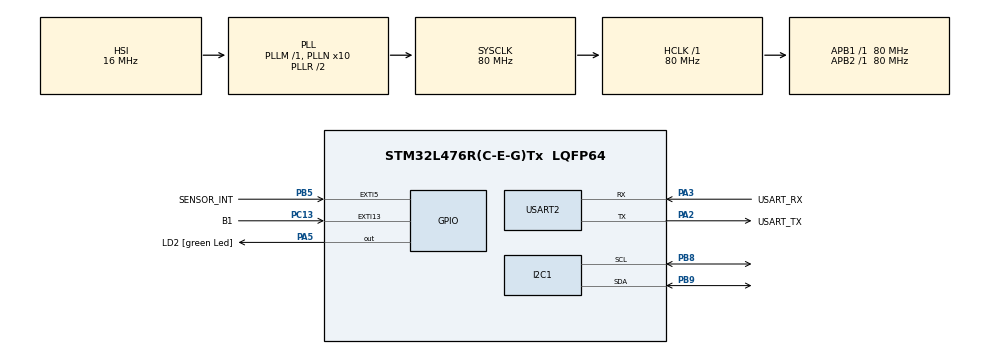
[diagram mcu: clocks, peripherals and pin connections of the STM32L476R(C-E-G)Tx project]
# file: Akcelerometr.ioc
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I2C1.Timing=0x10909CEC
Mcu.Family=STM32L4
Mcu.Name=STM32L476R(C-E-G)Tx
Mcu.Package=LQFP64
NVIC.EXTI9_5_IRQn=true\:0\:0\:false\:false\:true\:true\:true\:true
NVIC.I2C1_EV_IRQn=true\:0\:0\:false\:false\:true\:true\:true\:true
NVIC.PriorityGroup=NVIC_PRIORITYGROUP_4
NVIC.TIM1_TRG_COM_TIM17_IRQn=true\:0\:0\:false\:false\:true\:true\:true\:true
NVIC.TIM1_UP_TIM16_IRQn=true\:0\:0\:false\:false\:true\:true\:true\:true
NVIC.USART2_IRQn=true\:0\:0\:false\:false\:true\:true\:true\:true
PA13\ (JTMS-SWDIO).GPIO_Label=TMS
PA13\ (JTMS-SWDIO).Mode=Serial_Wire
PA13\ (JTMS-SWDIO).Signal=SYS_JTMS-SWDIO
PA14\ (JTCK-SWCLK).GPIO_Label=TCK
PA14\ (JTCK-SWCLK).Mode=Serial_Wire
PA14\ (JTCK-SWCLK).Signal=SYS_JTCK-SWCLK
PA2.GPIO_Label=USART_TX
PA2.GPIO_Mode=GPIO_MODE_AF_PP
PA2.GPIO_PuPd=GPIO_NOPULL
PA2.GPIO_Speed=GPIO_SPEED_FREQ_VERY_HIGH
PA2.Mode=Asynchronous
PA2.Signal=USART2_TX
PA3.GPIO_Label=USART_RX
PA3.GPIO_Mode=GPIO_MODE_AF_PP
PA3.GPIO_PuPd=GPIO_NOPULL
PA3.GPIO_Speed=GPIO_SPEED_FREQ_VERY_HIGH
PA3.Mode=Asynchronous
PA3.Signal=USART2_RX
PA5.GPIO_Label=LD2 [green Led]
PA5.GPIO_ModeDefaultOutputPP=GPIO_MODE_OUTPUT_PP
PA5.GPIO_PuPd=GPIO_NOPULL
PA5.GPIO_Speed=GPIO_SPEED_FREQ_LOW
PA5.Signal=GPIO_Output
PB3\ (JTDO-TRACESWO).GPIO_Label=SWO
PB3\ (JTDO-TRACESWO).Signal=SYS_JTDO-SWO
PB5.GPIO_Label=SENSOR_INT
PB5.Signal=GPXTI5
PB8.Mode=I2C
PB8.Signal=I2C1_SCL
PB9.Mode=I2C
PB9.Signal=I2C1_SDA
PC13.GPIO_Label=B1
PC13.GPIO_ModeDefaultEXTI=GPIO_MODE_IT_FALLING
PC13.GPIO_PuPd=GPIO_NOPULL
PC13.Signal=GPXTI13
PC14-OSC32_IN\ (PC14).Mode=LSE-External-Oscillator
PC14-OSC32_IN\ (PC14).Signal=RCC_OSC32_IN
PC15-OSC32_OUT\ (PC15).Mode=LSE-External-Oscillator
PC15-OSC32_OUT\ (PC15).Signal=RCC_OSC32_OUT
PH0-OSC_IN\ (PH0).Signal=RCC_OSC_IN
PH1-OSC_OUT\ (PH1).Signal=RCC_OSC_OUT
ProjectManager.HeapSize=0x200
ProjectManager.StackSize=0x400
ProjectManager.TargetToolchain=STM32CubeIDE
RCC.ADCFreq_Value=64000000
RCC.AHBFreq_Value=80000000
RCC.APB1Freq_Value=80000000
RCC.APB1TimFreq_Value=80000000
RCC.APB2Freq_Value=80000000
RCC.APB2TimFreq_Value=80000000
RCC.CortexFreq_Value=80000000
RCC.HCLKFreq_Value=80000000
RCC.HSE_VALUE=8000000
RCC.HSI_VALUE=16000000
RCC.MSI_VALUE=4000000
RCC.PLLN=10
RCC.PLLSourceVirtual=RCC_PLLSOURCE_HSI
RCC.PREFETCH_ENABLE=1
RCC.SYSCLKFreq_VALUE=80000000
RCC.SYSCLKSource=RCC_SYSCLKSOURCE_PLLCLK
RCC.USBFreq_Value=64000000
RCC.VCOOutputFreq_Value=160000000
TIM16.Period=999
TIM16.Prescaler=6153
TIM17.Period=999
TIM17.Prescaler=7271
USART2.VirtualMode-Asynchronous=VM_ASYNC
VP_TIM16_VS_ClockSourceINT.Mode=Enable_Timer
VP_TIM17_VS_ClockSourceINT.Mode=Enable_Timer
board=NUCLEO-L476RG

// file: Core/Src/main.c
/* USER CODE BEGIN Header */
/**
 ******************************************************************************
 * @file           : main.c
 * @brief          : Main program body
 ******************************************************************************
 * @attention
 *
 * Copyright (c) 2023 STMicroelectronics.
 * All rights reserved.
 *
 * This software is licensed under terms that can be found in the LICENSE file
 * in the root directory of this software component.
 * If no LICENSE file comes with this software, it is provided AS-IS.
 *
 ******************************************************************************
 */
/* USER CODE END Header */
#include "main.h"

/* USER CODE BEGIN Includes */
#include "lsm6dsl_register_map.h"
/* USER CODE END Includes */

/* USER CODE BEGIN PTD */
#define ADDRESS (0b11010110)
/* USER CODE END PTD */

I2C_HandleTypeDef hi2c1;

TIM_HandleTypeDef htim16;
TIM_HandleTypeDef htim17;

UART_HandleTypeDef huart2;

void SystemClock_Config(void);
static void MX_GPIO_Init(void);
static void MX_USART2_UART_Init(void);
static void MX_I2C1_Init(void);
static void MX_TIM16_Init(void);
static void MX_TIM17_Init(void);

/* USER CODE BEGIN 0 */
uint8_t comunicate[26];
int16_t comunicateAccleration[64];
volatile uint8_t flag = 0;
uint16_t size = 0;
uint8_t buffer[6] = { 0 };

//Bits in [mg]
int16_t accelerationX;
int16_t accelerationY;
int16_t accelerationZ;

uint16_t size;

//numbers in [m/s^2]
float accelerationXf;
float accelerationYf;
float accelerationZf;

void HAL_TIM_PeriodElapsedCallback(TIM_HandleTypeDef *htim) {
	//13 hz
	if (htim->Instance == TIM16) {
		HAL_GPIO_TogglePin(LD2_GPIO_Port, LD2_Pin);
	}

	// 11hz
	if (htim->Instance == TIM17) {
		if (flag) {
			HAL_I2C_Mem_Read_IT(&hi2c1, ADDRESS, LSM6DSL_OUTX_L_XL, 1, buffer,
					sizeof(buffer));

		}
	}
}

void HAL_GPIO_EXTI_Callback(uint16_t GPIO_Pin) {
	if (GPIO_Pin == SENSOR_INT_Pin) {
		HAL_I2C_Mem_Read_IT(&hi2c1, ADDRESS, LSM6DSL_OUTX_L_XL, 1, buffer, 6);
		flag = 1;
	}
}

void HAL_I2C_MemRxCpltCallback(I2C_HandleTypeDef *hi2c) {
	if (hi2c->Instance == I2C1) {
		accelerationX = (((int16_t) buffer[1]) << 8 | buffer[0]);
		accelerationY = (((int16_t) buffer[3]) << 8 | buffer[2]);
		accelerationZ = (((int16_t) buffer[5]) << 8 | buffer[4]);

		accelerationXf = 0.061 * accelerationX / 1000 * 9.81;
		accelerationYf = 0.061 * accelerationY / 1000 * 9.81;
		accelerationZf = 0.061 * accelerationZ / 1000 * 9.81;

		snprintf(comunicateAccleration, sizeof(comunicateAccleration),
				" Predkosc X wynosi %e m/s^2", accelerationXf);
		HAL_UART_Transmit(&huart2, comunicateAccleration,
				strlen(comunicateAccleration),
				HAL_MAX_DELAY);

		snprintf(comunicateAccleration, sizeof(comunicateAccleration),
				" Predkosc Y wynosi %e m/s^2", accelerationYf);
		HAL_UART_Transmit(&huart2, comunicateAccleration,
				strlen(comunicateAccleration),
				HAL_MAX_DELAY);

		snprintf(comunicateAccleration, sizeof(comunicateAccleration),
				" Predkosc Z wynosi %e m/s^2 \n\r", accelerationZf);
		HAL_UART_Transmit(&huart2, comunicateAccleration,
				strlen(comunicateAccleration),
				HAL_MAX_DELAY);

	}
}

/* USER CODE END 0 */

int main(void) {

	/* MCU Configuration--------------------------------------------------------*/

	/* Reset of all peripherals, Initializes the Flash interface and the Systick. */
	HAL_Init();

	/* Configure the system clock */
	SystemClock_Config();

	/* Initialize all configured peripherals */
	MX_GPIO_Init();
	MX_USART2_UART_Init();
	MX_I2C1_Init();
	MX_TIM16_Init();
	MX_TIM17_Init();
	/* USER CODE BEGIN 2 */
	HAL_TIM_Base_Start_IT(&htim16);
	HAL_TIM_Base_Start_IT(&htim17);

	/* USER CODE END 2 */

	/* Infinite loop */
	/* USER CODE BEGIN WHILE */

	{
		// BOOT
		// Software Reset and register automatically incremented
		uint8_t reg = ((00000001 << 0) | (00000001 << 3));
		HAL_I2C_Mem_Write(&hi2c1, ADDRESS, LSM6DSL_CTRL3_C, 1, &reg, 1,
		HAL_MAX_DELAY);
	}

//	Set LOW mode to have 1Hz on reading data
	{
		uint8_t reg = ((00000001 << 4));
		HAL_I2C_Mem_Write(&hi2c1, ADDRESS, LSM6DSL_CTRL6_C, 1, &reg, 1,
		HAL_MAX_DELAY);
	}

	{
		// Output Data Rate Acelerometr 12.5Hz
		uint8_t reg = (1 << 4);
//		uint8_t reg = ((1 << 7) | (1 << 5) | (1 << 4)); // to działa dla 1.6hz
//		uint8_t reg = (0b10110000); // to działa dla 1.6hz
//		uint8_t reg = (10110000);  to nie !!! działa dla 1.6hz
		HAL_I2C_Mem_Write(&hi2c1, ADDRESS, LSM6DSL_CTRL1_XL, 1, &reg, 1,
		HAL_MAX_DELAY);
	}

//Data ready signal on int_1_CTRL Acelerometr
	{
		uint8_t reg = (00000001 << 0);
		HAL_I2C_Mem_Write(&hi2c1, ADDRESS, LSM6DSL_INT1_CTRL, 1, &reg, 1,
		HAL_MAX_DELAY);
	}

//	HAL_I2C_Mem_Read(&hi2c1, ADDRESS, LSM6DSL_OUTX_L_XL, 1, buffer, 1,
//			HAL_MAX_DELAY);

	while (1) {
		/* USER CODE END WHILE */

		/* USER CODE BEGIN 3 */

		if (HAL_GPIO_ReadPin(B1_GPIO_Port, B1_Pin) == 0) {
			snprintf(comunicate, sizeof(comunicate),
					"Przycisk zostal wcisniety \n");
			HAL_UART_Transmit(&huart2, comunicate, strlen(comunicate),
			HAL_MAX_DELAY);
			while (HAL_GPIO_ReadPin(B1_GPIO_Port, B1_Pin) == 0)
				;
		}
//		acceleration = acceleration = (((uint32_t) buffer[0]));
//		HAL_GPIO_TogglePin(LD2_GPIO_Port, LD2_Pin);
//		HAL_Delay(1000);
	}
	/* USER CODE END 3 */
}

void SystemClock_Config(void) {
	RCC_OscInitTypeDef RCC_OscInitStruct = { 0 };
	RCC_ClkInitTypeDef RCC_ClkInitStruct = { 0 };

	/** Configure the main internal regulator output voltage
	 */
	if (HAL_PWREx_ControlVoltageScaling(PWR_REGULATOR_VOLTAGE_SCALE1)
			!= HAL_OK) {
		Error_Handler();
	}

	/** Initializes the RCC Oscillators according to the specified parameters
	 * in the RCC_OscInitTypeDef structure.
	 */
	RCC_OscInitStruct.OscillatorType = RCC_OSCILLATORTYPE_HSI;
	RCC_OscInitStruct.HSIState = RCC_HSI_ON;
	RCC_OscInitStruct.HSICalibrationValue = RCC_HSICALIBRATION_DEFAULT;
	RCC_OscInitStruct.PLL.PLLState = RCC_PLL_ON;
	RCC_OscInitStruct.PLL.PLLSource = RCC_PLLSOURCE_HSI;
	RCC_OscInitStruct.PLL.PLLM = 1;
	RCC_OscInitStruct.PLL.PLLN = 10;
	RCC_OscInitStruct.PLL.PLLP = RCC_PLLP_DIV7;
	RCC_OscInitStruct.PLL.PLLQ = RCC_PLLQ_DIV2;
	RCC_OscInitStruct.PLL.PLLR = RCC_PLLR_DIV2;
	if (HAL_RCC_OscConfig(&RCC_OscInitStruct) != HAL_OK) {
		Error_Handler();
	}

	/** Initializes the CPU, AHB and APB buses clocks
	 */
	RCC_ClkInitStruct.ClockType = RCC_CLOCKTYPE_HCLK | RCC_CLOCKTYPE_SYSCLK
			| RCC_CLOCKTYPE_PCLK1 | RCC_CLOCKTYPE_PCLK2;
	RCC_ClkInitStruct.SYSCLKSource = RCC_SYSCLKSOURCE_PLLCLK;
	RCC_ClkInitStruct.AHBCLKDivider = RCC_SYSCLK_DIV1;
	RCC_ClkInitStruct.APB1CLKDivider = RCC_HCLK_DIV1;
	RCC_ClkInitStruct.APB2CLKDivider = RCC_HCLK_DIV1;

	if (HAL_RCC_ClockConfig(&RCC_ClkInitStruct, FLASH_LATENCY_4) != HAL_OK) {
		Error_Handler();
	}
}

static void MX_I2C1_Init(void) {

	hi2c1.Instance = I2C1;
	hi2c1.Init.Timing = 0x10909CEC;
	hi2c1.Init.OwnAddress1 = 0;
	hi2c1.Init.AddressingMode = I2C_ADDRESSINGMODE_7BIT;
	hi2c1.Init.DualAddressMode = I2C_DUALADDRESS_DISABLE;
	hi2c1.Init.OwnAddress2 = 0;
	hi2c1.Init.OwnAddress2Masks = I2C_OA2_NOMASK;
	hi2c1.Init.GeneralCallMode = I2C_GENERALCALL_DISABLE;
	hi2c1.Init.NoStretchMode = I2C_NOSTRETCH_DISABLE;
	if (HAL_I2C_Init(&hi2c1) != HAL_OK) {
		Error_Handler();
	}

	/** Configure Analogue filter
	 */
	if (HAL_I2CEx_ConfigAnalogFilter(&hi2c1, I2C_ANALOGFILTER_ENABLE)
			!= HAL_OK) {
		Error_Handler();
	}

	/** Configure Digital filter
	 */
	if (HAL_I2CEx_ConfigDigitalFilter(&hi2c1, 0) != HAL_OK) {
		Error_Handler();
	}

}

static void MX_TIM16_Init(void) {

	htim16.Instance = TIM16;
	htim16.Init.Prescaler = 6153;
	htim16.Init.CounterMode = TIM_COUNTERMODE_UP;
	htim16.Init.Period = 999;
	htim16.Init.ClockDivision = TIM_CLOCKDIVISION_DIV1;
	htim16.Init.RepetitionCounter = 0;
	htim16.Init.AutoReloadPreload = TIM_AUTORELOAD_PRELOAD_DISABLE;
	if (HAL_TIM_Base_Init(&htim16) != HAL_OK) {
		Error_Handler();
	}

}

static void MX_TIM17_Init(void) {

	htim17.Instance = TIM17;
	htim17.Init.Prescaler = 7271;
	htim17.Init.CounterMode = TIM_COUNTERMODE_UP;
	htim17.Init.Period = 995;
	htim17.Init.ClockDivision = TIM_CLOCKDIVISION_DIV1;
	htim17.Init.RepetitionCounter = 0;
	htim17.Init.AutoReloadPreload = TIM_AUTORELOAD_PRELOAD_DISABLE;
	if (HAL_TIM_Base_Init(&htim17) != HAL_OK) {
		Error_Handler();
	}

}

static void MX_USART2_UART_Init(void) {

	huart2.Instance = USART2;
	huart2.Init.BaudRate = 115200;
	huart2.Init.WordLength = UART_WORDLENGTH_8B;
	huart2.Init.StopBits = UART_STOPBITS_1;
	huart2.Init.Parity = UART_PARITY_NONE;
	huart2.Init.Mode = UART_MODE_TX_RX;
	huart2.Init.HwFlowCtl = UART_HWCONTROL_NONE;
	huart2.Init.OverSampling = UART_OVERSAMPLING_16;
	huart2.Init.OneBitSampling = UART_ONE_BIT_SAMPLE_DISABLE;
	huart2.AdvancedInit.AdvFeatureInit = UART_ADVFEATURE_NO_INIT;
	if (HAL_UART_Init(&huart2) != HAL_OK) {
		Error_Handler();
	}

}

static void MX_GPIO_Init(void) {
	GPIO_InitTypeDef GPIO_InitStruct = { 0 };

	/* GPIO Ports Clock Enable */
	__HAL_RCC_GPIOC_CLK_ENABLE();
	__HAL_RCC_GPIOH_CLK_ENABLE();
	__HAL_RCC_GPIOA_CLK_ENABLE();
	__HAL_RCC_GPIOB_CLK_ENABLE();

	/*Configure GPIO pin Output Level */
	HAL_GPIO_WritePin(LD2_GPIO_Port, LD2_Pin, GPIO_PIN_RESET);

	/*Configure GPIO pin : B1_Pin */
	GPIO_InitStruct.Pin = B1_Pin;
	GPIO_InitStruct.Mode = GPIO_MODE_IT_FALLING;
	GPIO_InitStruct.Pull = GPIO_NOPULL;
	HAL_GPIO_Init(B1_GPIO_Port, &GPIO_InitStruct);

	/*Configure GPIO pin : LD2_Pin */
	GPIO_InitStruct.Pin = LD2_Pin;
	GPIO_InitStruct.Mode = GPIO_MODE_OUTPUT_PP;
	GPIO_InitStruct.Pull = GPIO_NOPULL;
	GPIO_InitStruct.Speed = GPIO_SPEED_FREQ_LOW;
	HAL_GPIO_Init(LD2_GPIO_Port, &GPIO_InitStruct);

	/*Configure GPIO pin : SENSOR_INT_Pin */
	GPIO_InitStruct.Pin = SENSOR_INT_Pin;
	GPIO_InitStruct.Mode = GPIO_MODE_IT_RISING;
	GPIO_InitStruct.Pull = GPIO_NOPULL;
	HAL_GPIO_Init(SENSOR_INT_GPIO_Port, &GPIO_InitStruct);

	/* EXTI interrupt init*/
	HAL_NVIC_SetPriority(EXTI9_5_IRQn, 0, 0);
	HAL_NVIC_EnableIRQ(EXTI9_5_IRQn);

}

void Error_Handler(void) {
	__disable_irq();
	while (1) {
	}
}
